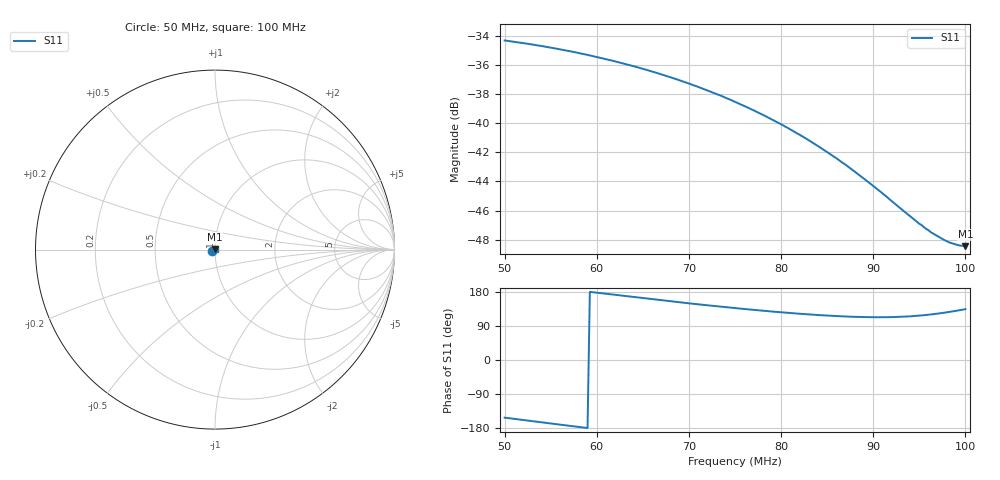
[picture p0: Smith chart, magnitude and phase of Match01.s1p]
!Agilent Technologies,E5072A,MY51200456,A.01.06
!Date: Wed Sep 02 20:43:17 2015
!Data & Calibration Information:
!Freq	S11:SOLT1(ON)
!PortZ  Port1:50+j0
!Above PortZ is port z conversion or system Z0 setting when saving the data.
!When reading, reference impedance value at option line is always used.
# Hz S dB R 50
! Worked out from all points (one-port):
!   201 points, 50 MHz to 100 MHz, reference 50 ohm
!   lowest |S11| = -48.5 dB at 100 MHz (marker M1), VSWR 1.01, Z = 49.7 + j0.269 ohm
!   |S11| at or under -10 dB: start of sweep to end of sweep
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5e7  -34.29 -152.2
5.3e7  -34.57 -161.4
5.625e7  -34.93 -171.3
6e7  -35.43 177.6
6.25e7  -35.82 170.3
6.6e7  -36.43 160.4
6.875e7  -36.99 152.9
7.2e7  -37.73 144.4
7.5e7  -38.52 137.0
7.625e7  -38.87 134.0
7.8e7  -39.41 130.1
8.025e7  -40.15 125.4
8.125e7  -40.51 123.4
8.275e7  -41.06 120.7
8.45e7  -41.76 117.9
8.6e7  -42.40 115.9
8.75e7  -43.09 114.3
8.925e7  -43.93 113.1
9.075e7  -44.69 112.9
9.375e7  -46.27 114.9
9.5e7  -46.91 117.0
9.525e7  -47.00 117.6
9.575e7  -47.27 118.8
9.625e7  -47.49 120.1
9.725e7  -47.88 123.2
9.825e7  -48.20 126.8
9.95e7  -48.42 132.0
1e8  -48.46 134.2
